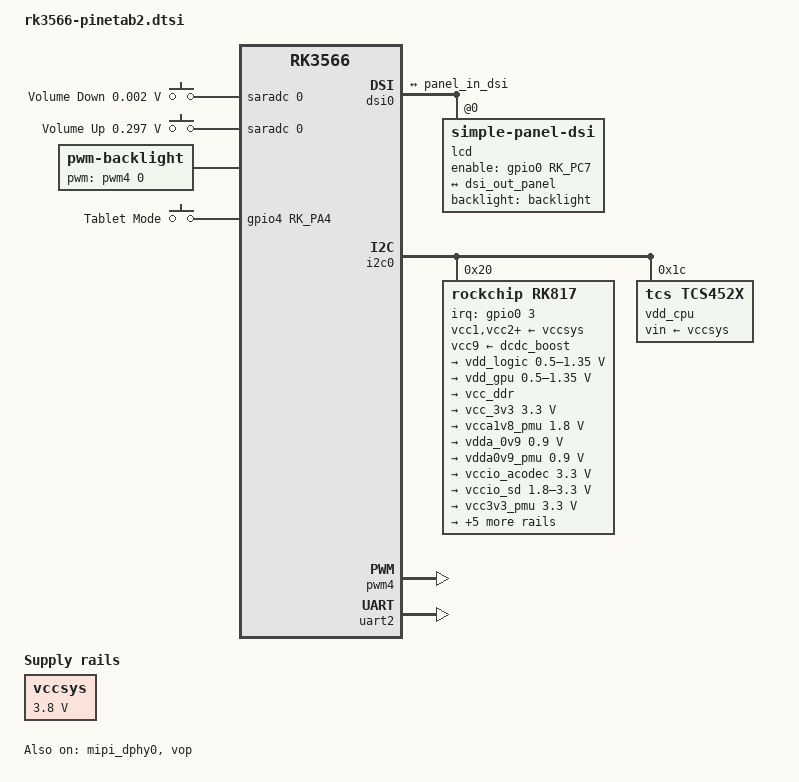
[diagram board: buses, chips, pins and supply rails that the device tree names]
/*
 * SPDX-License-Identifier:     GPL-2.0+
 *
 * (C) Copyright 2023 Rockchip Electronics Co., Ltd
 */

/dts-v1/;
#include "rk3566.dtsi"
#include "rk3566-u-boot.dtsi"
#include <dt-bindings/input/input.h>
#include <dt-bindings/media/rockchip_mipi_dsi.h>

/ {
	adc_keys: adc-keys {
		compatible = "adc-keys";
		io-channels = <&saradc 0>;
		io-channel-names = "buttons";
		keyup-threshold-microvolt = <1800000>;
		poll-interval = <100>;
		status = "okay";

		vol-down-key {
			label = "Volume Down";
			linux,code = <KEY_VOLUMEDOWN>;
			press-threshold-microvolt = <1750>;
		};

		vol-up-key {
			label = "Volume Up";
			linux,code = <KEY_VOLUMEUP>;
			press-threshold-microvolt = <297500>;
		};
	};

	backlight: backlight {
		compatible = "pwm-backlight";
		pwms = <&pwm4 0 25000 0>;
		brightness-levels = <
			  0  20  20  21  21  22  22  23
			 23  24  24  25  25  26  26  27
			 27  28  28  29  29  30  30  31
			 31  32  32  33  33  34  34  35
			 35  36  36  37  37  38  38  39
			 40  41  42  43  44  45  46  47
			 48  49  50  50  51  52  53  54
			 55  55  56  57  58  59  60  61
			 62  63  64  64  65  65  66  67
			 68  69  70  71  71  72  73  74
			 75  76  77  78  79  79  80  81
			 82  83  84  85  86  86  87  88
			 89  90  91  92  93  94  94  95
			 96  97  98  99 100 101 101 102
			103 104 105 106 107 107 108 109
			110 111 112 113 114 115 115 116
			117 118 119 120 121 122 123 123
			124 125 126 127 128 129 130 130
			131 132 133 134 135 136 136 137
			138 139 140 141 142 143 143 144
			145 146 147 147 148 149 150 151
			152 153 154 155 156 156 157 158
			159 157 158 159 160 161 162 162
			163 164 165 166 167 168 169 169
			170 171 172 173 174 175 175 176
			177 178 179 180 181 182 182 183
			184 185 186 187 188 189 190 190
			191 192 193 194 195 196 197 197
			198 199 200 201 202 203 204 204
			205 206 207 208 209 209 210 211
			212 213 213 214 214 215 215 216
			216 217 217 218 218 219 219 220
		>;
		default-brightness-level = <200>;
		status = "okay";
	};

	/* This probably requires PMIC driver under Linux to set valid bit. */
	charge-animation {
		compatible = "rockchip,uboot-charge";
		rockchip,uboot-charge-on = <1>;
		rockchip,android-charge-on = <0>;
		rockchip,uboot-low-power-voltage = <3350>;
		rockchip,screen-on-voltage = <3400>;
		//status = "okay";
		status = "disabled";
	};

	gpio_keys: gpio-keys {
		compatible = "gpio-keys";
		pinctrl-names = "default";
		pinctrl-0 = <&kb_id_det>;
		status = "okay";

		tablet-mode-switch {
			debounce-interval = <20>;
			gpios = <&gpio4 RK_PA4 GPIO_ACTIVE_HIGH>;
			label = "Tablet Mode";
			linux,input-type = <EV_SW>;
			linux,code = <SW_TABLET_MODE>;
			u-boot,dm-spl;
		};
	};

	vccsys: vccsys {
		compatible = "regulator-fixed";
		regulator-name = "vcc3v8_sys";
		regulator-always-on;
		regulator-boot-on;
		regulator-min-microvolt = <3800000>;
		regulator-max-microvolt = <3800000>;
	};
};

&dsi0 {
	status = "okay";

	lcd: panel@0 {
		compatible = "simple-panel-dsi";
		reg = <0x0>;

		backlight = <&backlight>;
		enable-gpios = <&gpio0 RK_PC7 GPIO_ACTIVE_HIGH>;
		// reset gpio will be filled by other dts

		pinctrl-names = "default";
		pinctrl-0 = <&lcd_pwren_h>, <&lcd0_rst_l>;

		prepare-delay-ms = <120>;
		reset-delay-ms = <120>;
		init-delay-ms = <120>;
		stbyb-delay-ms = <120>;
		enable-delay-ms = <120>;
		disable-delay-ms = <120>;
		unprepare-delay-ms = <120>;

		width-mm = <229>;
		height-mm = <143>;

		dsi,flags = <(MIPI_DSI_MODE_VIDEO | MIPI_DSI_MODE_VIDEO_BURST |
			      MIPI_DSI_MODE_LPM | MIPI_DSI_MODE_EOT_PACKET)>;
		dsi,format = <MIPI_DSI_FMT_RGB888>;
		dsi,lanes = <4>;

		panel-init-sequence = [
			39 00 03 E0 AB BA
			39 00 03 E1 BA AB
			39 00 05 B1 10 01 47 FF
			39 00 07 B2 0C 14 04 50 50 14
			39 00 04 B3 56 53 00
			39 00 04 B4 33 30 04
			39 00 08 B6 B0 00 00 10 00 10 00
			39 00 08 B8 05 12 29 49 48 00 00
			39 00 27 B9 7C 65 55 49 46 36 3B 24 3D 3C 3D 5C 4C 55 47 46 39 26 06 7C 65 55 49 46 36 3B 24 3D 3C 3D 5C 4C 55 47 46 39 26 06
			39 00 11 C0 FF 87 12 34 44 44 44 44 98 04 98 04 0F 00 00 C1
			39 00 0b C1 54 94 02 85 9F 00 7F 00 54 00
			39 00 0d C2 17 09 08 89 08 11 22 20 44 FF 18 00
			39 00 17 C3 86 46 05 05 1C 1C 1D 1D 02 1F 1F 1E 1E 0F 0F 0D 0D 13 13 11 11 00
			39 00 17 C4 07 07 04 04 1C 1C 1D 1D 02 1F 1F 1E 1E 0E 0E 0C 0C 12 12 10 10 00
			39 00 03 C6 2A 2A
			39 00 07 C8 21 00 31 42 34 16
			39 00 03 CA CB 43
			39 00 09 CD 0E 4B 4B 20 19 6B 06 B3
			39 00 05 D2 E3 2B 38 00
			39 00 0c D4 00 01 00 0E 04 44 08 10 00 00 00
			39 00 09 E6 80 01 FF FF FF FF FF FF
			39 00 06 F0 12 03 20 00 FF
			15 00 02 F3 00

			05 78 01 11
			05 32 01 29
		];

		panel-exit-sequence = [
			05 dc 01 28
			05 78 01 10
		];

		display-timings {
			native-mode = <&timing0>;
			timing0: timing0 {
				clock-frequency = <68000000>;
				hactive = <800>;
				vactive = <1280>;

				hsync-len = <20>;
				hback-porch = <80>;
				hfront-porch = <80>;

				vsync-len = <4>;
				vback-porch = <12>;
				vfront-porch = <20>;

				hsync-active = <0>;
				vsync-active = <0>;
				de-active = <0>;
				pixelclk-active = <1>;
			};
		};

		ports {
			#address-cells = <1>;
			#size-cells = <0>;

			port@0 {
				reg = <0>;
				panel_in_dsi: endpoint {
					remote-endpoint = <&dsi_out_panel>;
				};
			};
		};
	};

	ports {
		#address-cells = <1>;
		#size-cells = <0>;

		port@1 {
			reg = <1>;
			dsi_out_panel: endpoint {
				remote-endpoint = <&panel_in_dsi>;
			};
		};
	};
};

&gmac1 {
	status = "disabled";
};

&i2c0 {
	status = "okay";

	rk817: pmic@20 {
		compatible = "rockchip,rk817";
		reg = <0x20>;
		interrupt-parent = <&gpio0>;
		interrupts = <3 IRQ_TYPE_LEVEL_LOW>;

		pinctrl-names = "default", "pmic-sleep",
				"pmic-power-off", "pmic-reset";
		pinctrl-0 = <&pmic_int>;
		rockchip,system-power-controller;
		wakeup-source;
		#clock-cells = <1>;
		clock-output-names = "rk808-clkout1", "rk808-clkout2";
		//fb-inner-reg-idxs = <2>;
		/* 1: rst regs (default in codes), 0: rst the pmic */
		pmic-reset-func = <0>;
		/* not save the PMIC_POWER_EN register in uboot */
		not-save-power-en = <1>;

		vcc1-supply = <&vccsys>;
		vcc2-supply = <&vccsys>;
		vcc3-supply = <&vccsys>;
		vcc4-supply = <&vccsys>;
		vcc5-supply = <&vccsys>;
		vcc6-supply = <&vccsys>;
		vcc7-supply = <&vccsys>;
		vcc8-supply = <&vccsys>;
		vcc9-supply = <&dcdc_boost>;

		pwrkey {
			status = "okay";
		};

		regulators {
			vdd_logic: DCDC_REG1 {
				regulator-always-on;
				regulator-boot-on;
				regulator-min-microvolt = <500000>;
				regulator-max-microvolt = <1350000>;
				regulator-init-microvolt = <900000>;
				regulator-ramp-delay = <6001>;
				regulator-initial-mode = <0x2>;
				regulator-name = "vdd_logic";
				regulator-state-mem {
					regulator-off-in-suspend;
					regulator-suspend-microvolt = <900000>;
				};
			};

			vdd_gpu: DCDC_REG2 {
				regulator-always-on;
				regulator-boot-on;
				regulator-min-microvolt = <500000>;
				regulator-max-microvolt = <1350000>;
				regulator-init-microvolt = <900000>;
				regulator-ramp-delay = <6001>;
				regulator-initial-mode = <0x2>;
				regulator-name = "vdd_gpu";
				regulator-state-mem {
					regulator-off-in-suspend;
				};
			};

			vcc_ddr: DCDC_REG3 {
				regulator-always-on;
				regulator-boot-on;
				regulator-initial-mode = <0x2>;
				regulator-name = "vcc_ddr";
				regulator-state-mem {
					regulator-on-in-suspend;
				};
			};

			vcc_3v3: DCDC_REG4 {
				regulator-always-on;
				regulator-boot-on;
				regulator-min-microvolt = <3300000>;
				regulator-max-microvolt = <3300000>;
				regulator-initial-mode = <0x2>;
				regulator-name = "vcc_3v3";
				regulator-state-mem {
					regulator-on-in-suspend;
					regulator-suspend-microvolt = <3300000>;
				};
			};

			vcca1v8_pmu: LDO_REG1 {
				regulator-always-on;
				regulator-boot-on;
				regulator-min-microvolt = <1800000>;
				regulator-max-microvolt = <1800000>;
				regulator-name = "vcca1v8_pmu";
				regulator-state-mem {
					regulator-on-in-suspend;
					regulator-suspend-microvolt = <1800000>;
				};
			};

			vdda_0v9: LDO_REG2 {
				regulator-always-on;
				regulator-boot-on;
				regulator-min-microvolt = <900000>;
				regulator-max-microvolt = <900000>;
				regulator-name = "vdda_0v9";
				regulator-state-mem {
					regulator-off-in-suspend;
				};
			};

			vdda0v9_pmu: LDO_REG3 {
				regulator-always-on;
				regulator-boot-on;
				regulator-min-microvolt = <900000>;
				regulator-max-microvolt = <900000>;
				regulator-name = "vdda0v9_pmu";
				regulator-state-mem {
					regulator-on-in-suspend;
					regulator-suspend-microvolt = <900000>;
				};
			};

			vccio_acodec: LDO_REG4 {
				regulator-always-on;
				regulator-boot-on;
				regulator-min-microvolt = <3300000>;
				regulator-max-microvolt = <3300000>;
				regulator-name = "vccio_acodec";
				regulator-state-mem {
					regulator-off-in-suspend;
				};
			};

			vccio_sd: LDO_REG5 {
				regulator-always-on;
				regulator-boot-on;
				regulator-min-microvolt = <1800000>;
				regulator-max-microvolt = <3300000>;
				regulator-name = "vccio_sd";
				regulator-state-mem {
					regulator-off-in-suspend;
				};
			};

			vcc3v3_pmu: LDO_REG6 {
				regulator-always-on;
				regulator-boot-on;
				regulator-min-microvolt = <3300000>;
				regulator-max-microvolt = <3300000>;
				regulator-name = "vcc3v3_pmu";
				regulator-state-mem {
					regulator-on-in-suspend;
					regulator-suspend-microvolt = <3000000>;
				};
			};

			vcc_1v8: LDO_REG7 {
				regulator-always-on;
				regulator-boot-on;
				regulator-min-microvolt = <1800000>;
				regulator-max-microvolt = <1800000>;
				regulator-name = "vcc_1v8";
				regulator-state-mem {
					regulator-off-in-suspend;
				};
			};

			vcc1v8_dvp: LDO_REG8 {
				regulator-always-on;
				regulator-boot-on;
				regulator-min-microvolt = <1800000>;
				regulator-max-microvolt = <1800000>;
				regulator-name = "vcc1v8_dvp";
				regulator-state-mem {
					regulator-off-in-suspend;
				};
			};

			vcc2v8_dvp: LDO_REG9 {
				regulator-always-on;
				regulator-boot-on;
				regulator-min-microvolt = <2800000>;
				regulator-max-microvolt = <2800000>;
				regulator-name = "vcc2v8_dvp";
				regulator-state-mem {
					regulator-off-in-suspend;
				};
			};

			dcdc_boost: BOOST {
				regulator-always-on;
				regulator-boot-on;
				regulator-min-microvolt = <5000000>;
				regulator-max-microvolt = <5000000>;
				regulator-name = "boost";
				regulator-state-mem {
					regulator-off-in-suspend;
				};
			};

			otg_switch: OTG_SWITCH {
				regulator-name = "otg_switch";
				regulator-state-mem {
					regulator-off-in-suspend;
				};
			};
		};

		battery {
			compatible = "rk817,battery";
			ocv_table = <3400 3492 3535 3589 3640 3706 3755 3773 3776 3780 3798 3833 3885 3928 3972 4022 4080 4136 4192 4250 4322>;
			design_capacity = <6000>;
			design_qmax = <6500>;
			bat_res = <76>;
			sleep_enter_current = <150>;
			sleep_exit_current = <180>;
			sleep_filter_current = <100>;
			power_off_thresd = <3400>;
			zero_algorithm_vol = <3850>;
			max_soc_offset = <60>;
			monitor_sec = <5>;
			sample_res = <10>;
			virtual_power = <0>;
		};

		charger {
			compatible = "rk817,charger";
			min_input_voltage = <4500>;
			max_input_current = <1500>;
			max_chrg_current = <2000>;
			max_chrg_voltage = <4300>;
			chrg_term_mode = <0>;
			chrg_finish_cur = <300>;
			virtual_power = <0>;
			dc_det_adc = <0>;
			extcon = <&usb2phy0>;
		};
	};

	vdd_cpu: tcs4525@1c {
		compatible = "tcs,tcs452x";
		reg = <0x1c>;
		vin-supply = <&vccsys>;
		regulator-compatible = "fan53555-reg";
		regulator-name = "vdd_cpu";
		regulator-min-microvolt = <712500>;
		regulator-max-microvolt = <1390000>;
		regulator-init-microvolt = <900000>;
		regulator-ramp-delay = <2300>;
		fcs,suspend-voltage-selector = <1>;
		regulator-boot-on;
		regulator-always-on;
		regulator-state-mem {
			regulator-off-in-suspend;
		};
	};
};

&mipi_dphy0 {
	status = "okay";
};

&pinctrl {
	display {
		lcd_pwren_h: lcd-pwren-h {
			rockchip,pins = <0 RK_PC7 RK_FUNC_GPIO &pcfg_pull_none>;
		};
	};

	keyboard {
		kb_id_det: kb-id-det {
			rockchip,pins = <4 RK_PA4 RK_FUNC_GPIO &pcfg_pull_none>;
		};
	};

	pmic {
		pmic_int: pmic_int {
			rockchip,pins = <0 RK_PA3 RK_FUNC_GPIO &pcfg_pull_up>;
		};
	};
};

&pmu_io_domains {
	status = "okay";
	pmuio1-supply = <&vcc3v3_pmu>;
	pmuio2-supply = <&vcca1v8_pmu>;
	vccio1-supply = <&vccio_acodec>;
	vccio3-supply = <&vccio_sd>;
	vccio4-supply = <&vcca1v8_pmu>;
	vccio5-supply = <&vcc_1v8>;
	vccio6-supply = <&vcc1v8_dvp>;
	vccio7-supply = <&vcc_3v3>;
};

&pwm4 {
	status = "okay";
};

&uart2 {
	status = "okay";
};

&vop {
	status = "okay";
	assigned-clocks = <&cru DCLK_VOP0>, <&cru DCLK_VOP1>;
	assigned-clock-parents = <&pmucru PLL_HPLL>, <&cru PLL_VPLL>;
};

&vop_mmu {
	status = "okay";
};
